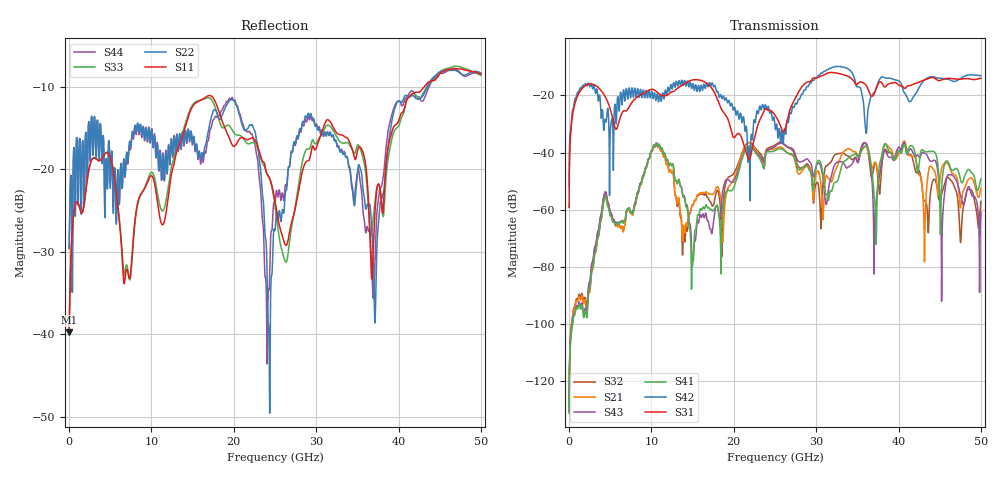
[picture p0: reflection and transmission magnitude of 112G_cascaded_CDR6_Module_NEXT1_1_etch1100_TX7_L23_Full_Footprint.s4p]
! Created Tue Feb 26 10:18:35 2019
# hz S ma R 50
! 4 Port Network Data from SP1.SP block
! freq  magS11  angS11  magS12  angS12  magS13  angS13  magS14  angS14
!  magS21  angS21  magS22  angS22  magS23  angS23  magS24  angS24
!  magS31  angS31  magS32  angS32  magS33  angS33  magS34  angS34
!  magS41  angS41  magS42  angS42  magS43  angS43  magS44  angS44
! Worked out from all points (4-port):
!   5000 points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, 10 MHz to 50 GHz, reference 50 ohm
!   strongest paths, dB at 10 MHz, 12.51 GHz, 25.01 GHz, 37.51 GHz, 50 GHz:
!     S31: -59.2, -18.7, -26.9, -16.0, -13.9
!     S42: -51.9, -17.8, -31.2, -15.7, -13.1
!     S41: -131.2, -44.4, -39.3, -49.3, -49.2
!     S43: -130.5, -44.3, -37.9, -50.7, -60.8
!     S21: -129.1, -47.0, -38.6, -49.4, -52.4
!     S32: -128.4, -47.0, -37.3, -48.6, -57.1
!   lowest |S11| = -39.8 dB at 10 MHz (marker M1), VSWR 1.02, Z = 51 + j0.0875 ohm
!   |S11| at or under -10 dB: start of sweep to 43.14 GHz
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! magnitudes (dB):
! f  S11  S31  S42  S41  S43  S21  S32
! 10 MHz  -39.8  -59.2  -51.9  -131.2  -130.5  -129.1  -128.4
! 1.72 GHz  -24.9  -17.2  -16.4  -96.6  -95.8  -92.3  -91.6
! 10.74 GHz  -24.0  -19.0  -19.9  -37.5  -37.4  -38.0  -37.9
! 14.98 GHz  -12.4  -14.6  -16.3  -75.5  -79.8  -58.2  -58.5
! 25.67 GHz  -27.3  -30.7  -36.2  -38.6  -36.7  -38.0  -36.3
! 32.11 GHz  -15.0  -12.0  -10.2  -51.1  -45.1  -47.9  -41.4
! 50 GHz  -8.4  -13.9  -13.1  -49.2  -60.8  -52.4  -57.1
